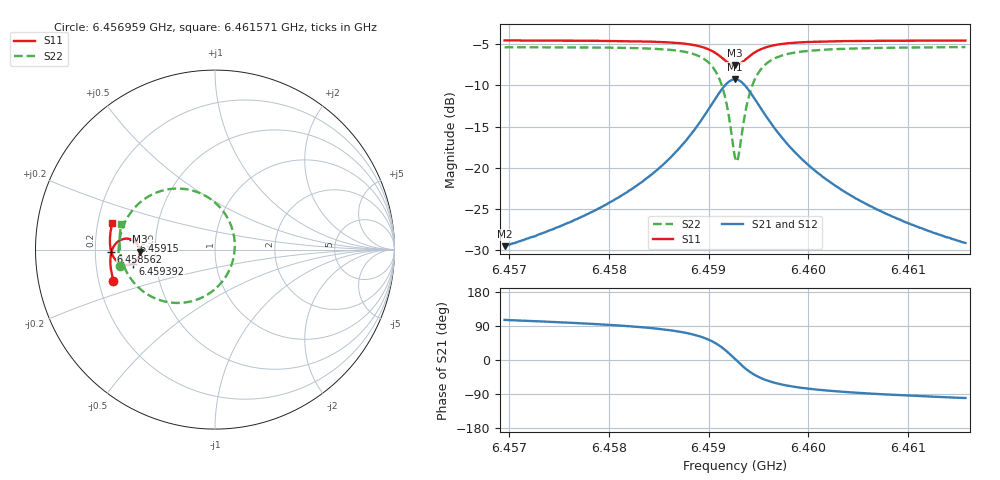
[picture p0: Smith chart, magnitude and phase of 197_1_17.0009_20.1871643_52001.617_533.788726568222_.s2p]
#  HZ  S  RI  R  50.00
! Rohde & Schwarz Vector Network Analyzer
! Rohde-Schwarz,ZNB20-2Port,1311601062101988,3.16
! Created: UTC 3/20/2024, 11:00:54 PM
! freq[Hz]  re:S11  im:S11  re:S21  im:S21  re:S12  im:S12  re:S22  im:S22
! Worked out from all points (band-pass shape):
!   401 points, 6.456959 GHz to 6.461571 GHz, reference 50 ohm
!   highest |S21| = -9.26 dB at 6.459265 GHz (marker M1); lowest = -29.5 dB at 6.456959 GHz (marker M2)
!   |S21| within 3 dB of the highest: 6.459034 GHz to 6.459496 GHz (461.8 kHz wide, 0.00715 % of centre)
!   lowest |S11| = -7.6 dB at 6.459265 GHz (marker M3), VSWR 2.44, Z = 20.5 - j0.605 ohm
!   |S11| at or under -10 dB: nowhere
!   |S22| runs from -19.2 to -5.4 dB; largest |S21 - S12| = 0.013
!   S11 on the Smith chart (normalised r, x): 6.456959 GHz: 0.26, -0.14; 6.458562 GHz: 0.27, -0.01; 6.45915 GHz: 0.37, +0.05; 6.459392 GHz: 0.37, -0.07; 6.461571 GHz: 0.26, +0.12
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6.4569586e9  -0.5657 -0.1747  -0.00915 0.0323  -0.00738 0.0323  -0.531 -0.0891
6.4577313e9  -0.5801 -0.1073  -0.00593 0.0502  -0.00343 0.0496  -0.5371 0.0011
6.4581695e9  -0.5832 -0.0633  0.000134 0.0704  0.00353 0.0691  -0.5291 0.0707
6.4585039e9  -0.5796 -0.0233  0.0136 0.0986  0.0176 0.096  -0.5046 0.1463
6.4585616e9  -0.5778 -0.0154  0.018 0.1054  0.0221 0.1026  -0.4966 0.163
6.4587692e9  -0.5649 0.0168  0.0454 0.1379  0.0494 0.1332  -0.4456 0.2361
6.4589191e9  -0.5423 0.0431  0.0904 0.1686  0.0937 0.162  -0.3626 0.3006
6.4590575e9  -0.4985 0.0608  0.1774 0.1854  0.1784 0.1781  -0.2038 0.34
6.4591497e9  -0.4541 0.0508  0.2672 0.1546  0.2675 0.1486  -0.0376 0.2904
6.4592189e9  -0.425 0.0188  0.3276 0.0831  0.3298 0.0778  0.0776 0.1619
6.4592651e9  -0.4181 -0.0122  0.3442 0.0155  0.3479 0.00848  0.11 0.0357
6.4592766e9  -0.4186 -0.0201  0.344 -0.00221  0.3479 -0.00977  0.1097 0.00226
6.4592997e9  -0.422 -0.0357  0.3385 -0.037  0.3423 -0.0458  0.099 -0.0634
6.4593458e9  -0.4376 -0.0619  0.3105 -0.0964  0.3125 -0.1083  0.0422 -0.176
6.4593919e9  -0.4595 -0.0781  0.2686 -0.1376  0.2678 -0.1508  -0.0422 -0.2507
6.4594842e9  -0.5027 -0.0849  0.1843 -0.169  0.1784 -0.1805  -0.2098 -0.2974
6.4596341e9  -0.5465 -0.0646  0.0967 -0.1556  0.0884 -0.1618  -0.3768 -0.2491
6.4597955e9  -0.5681 -0.0369  0.0519 -0.1282  0.0444 -0.1309  -0.4573 -0.1778
6.4600377e9  -0.5809 -0.00152  0.0227 -0.0969  0.017 -0.0975  -0.5057 -0.0959
6.4603606e9  -0.5855 0.037  0.00726 -0.0716  0.00313 -0.0711  -0.5267 -0.0215
6.4608104e9  -0.5837 0.0824  -0.0012 -0.0518  -0.00403 -0.0509  -0.5321 0.051
6.4615715e9  -0.5719 0.1498  -0.0062 -0.0346  -0.00803 -0.0336  -0.5211 0.1409
